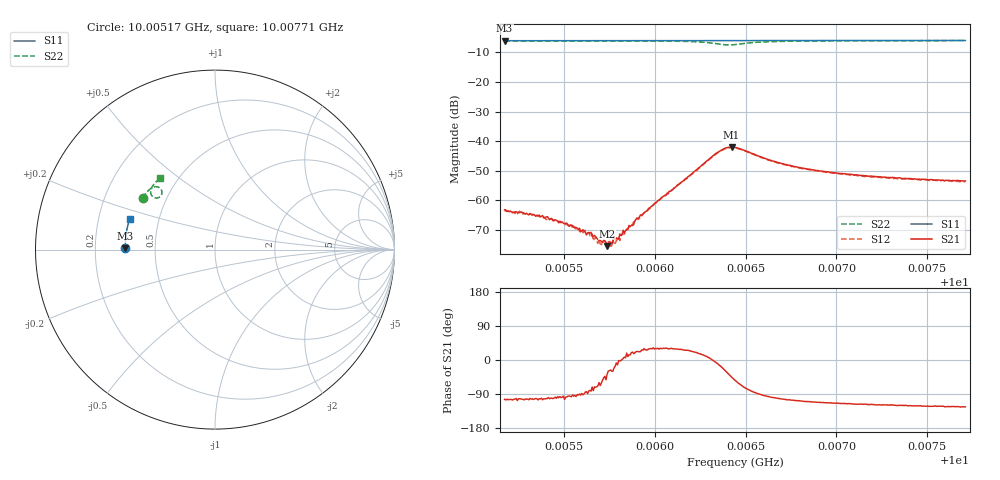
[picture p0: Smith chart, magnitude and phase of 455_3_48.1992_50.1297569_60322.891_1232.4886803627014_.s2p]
#  HZ  S  RI  R  50.00
! Rohde & Schwarz Vector Network Analyzer
! Rohde-Schwarz,ZNB20-2Port,1311601062101988,3.16
! Created: UTC 3/20/2024, 11:56:31 AM
! freq[Hz]  re:S11  im:S11  re:S21  im:S21  re:S12  im:S12  re:S22  im:S22
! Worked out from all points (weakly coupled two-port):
!   401 points, 10.00517 GHz to 10.00771 GHz, reference 50 ohm
!   highest |S21| = -42.06 dB at 10.00642 GHz (marker M1); lowest = -75.6 dB at 10.00574 GHz (marker M2)
!   lowest |S11| = -6.0 dB at 10.00517 GHz (marker M3), VSWR 3.00, Z = 16.6 + j0.368 ohm
!   |S11| at or under -10 dB: nowhere
!   |S22| runs from -7.4 to -6.0 dB; largest |S21 - S12| = 0.00047
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1.0005173e10  -0.5004 0.00829  -0.000161 -0.000666  -0.000154 -0.000631  -0.4032 0.2874
1.0005376e10  -0.5003 0.0217  -9.84e-05 -0.000527  -0.000112 -0.000514  -0.3953 0.2994
1.0005477e10  -0.5003 0.0282  -5.08e-05 -0.000436  -4.7e-05 -0.000417  -0.3909 0.3055
1.0005598e10  -0.4999 0.036  7.77e-06 -0.0003  1.29e-05 -0.000319  -0.3855 0.3127
1.0005629e10  -0.5 0.0381  4.61e-06 -0.000276  5.55e-05 -0.000272  -0.3838 0.3146
1.0005693e10  -0.4998 0.0421  0.000108 -0.000184  0.000128 -0.000176  -0.3807 0.3185
1.0005737e10  -0.4996 0.0451  0.000132 -0.000101  0.000147 -8.7e-05  -0.3783 0.3213
1.000575e10  -0.4996 0.0459  0.000162 -8.73e-05  0.000187 -7.18e-05  -0.3776 0.3221
1.0005756e10  -0.4995 0.0463  0.000174 -8.66e-05  0.000141 -8.67e-05  -0.3772 0.3225
1.0005769e10  -0.4995 0.0471  0.000177 -0.0001  0.000216 -3.4e-05  -0.3767 0.3233
1.000582e10  -0.4993 0.0503  0.000263 6.68e-06  0.000263 3.19e-05  -0.3736 0.3267
1.0005889e10  -0.4988 0.055  0.000419 0.000141  0.000399 0.000174  -0.3691 0.331
1.0005909e10  -0.4989 0.056  0.000457 0.000188  0.000425 0.000198  -0.3677 0.3323
1.0006023e10  -0.498 0.0636  0.000881 0.00048  0.000829 0.000531  -0.3587 0.34
1.0006333e10  -0.4953 0.0836  0.00606 -0.00058  0.00592 -0.000233  -0.2994 0.3333
1.0006384e10  -0.4946 0.0866  0.00671 -0.00333  0.00672 -0.00294  -0.2972 0.3078
1.0006422e10  -0.4943 0.0887  0.00557 -0.00558  0.00577 -0.00516  -0.3108 0.2913
1.0006441e10  -0.4941 0.0898  0.00462 -0.00623  0.00487 -0.00589  -0.3205 0.2875
1.0006663e10  -0.4926 0.104  -0.000768 -0.0044  -0.000526 -0.00435  -0.3582 0.328
1.0006866e10  -0.4901 0.117  -0.00117 -0.00304  -0.000969 -0.00306  -0.3495 0.3507
1.0007291e10  -0.4838 0.1438  -0.00115 -0.00211  -0.00104 -0.00209  -0.3275 0.3784
1.000771e10  -0.4762 0.1695  -0.00117 -0.00176  -0.0011 -0.00177  -0.3061 0.3988
